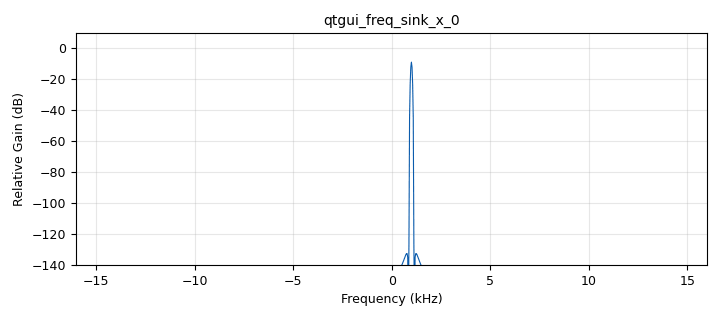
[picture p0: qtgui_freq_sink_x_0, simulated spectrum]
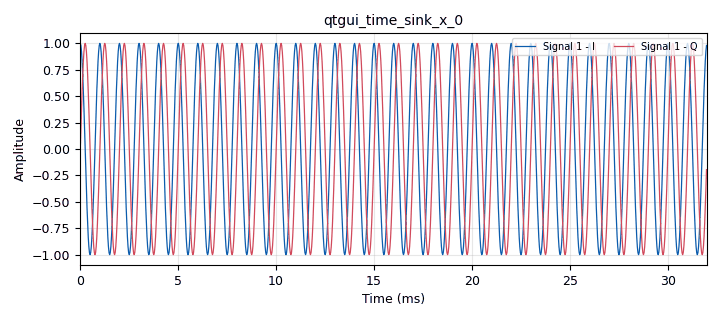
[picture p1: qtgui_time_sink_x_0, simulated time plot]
options:
  parameters:
    generate_options: qt_gui
    id: ex1_04
    output_language: python
    title: Figure 1.9 Spectrum of complex signal
  states: {}

blocks:
- name: frequency
  id: variable_qtgui_range
  parameters:
    start: '0'
    step: '1'
    stop: samp_rate/2
    value: '1000'
  states: {}
- name: samp_rate
  id: variable
  parameters:
    value: '32000'
  states: {}
- name: analog_sig_source_x_0
  id: analog_sig_source_x
  parameters:
    amp: '1'
    freq: frequency
    offset: '0'
    phase: '0'
    samp_rate: samp_rate
    type: complex
    waveform: analog.GR_COS_WAVE
  states: {}
- name: blocks_throttle2_0
  id: blocks_throttle2
  parameters:
    comment: slow down the scheduler
    samples_per_second: samp_rate
    type: complex
  states: {}
- name: qtgui_freq_sink_x_0
  id: qtgui_freq_sink_x
  parameters:
    bw: samp_rate
    fc: '0'
    fftsize: '1024'
    type: complex
  states: {}
- name: qtgui_time_sink_x_0
  id: qtgui_time_sink_x
  parameters:
    autoscale: 'True'
    label1: Signal 1 - I
    label2: Signal 1 - Q
    size: '1024'
    srate: samp_rate
    type: complex
  states: {}

connections:
- [analog_sig_source_x_0, '0', blocks_throttle2_0, '0']
- [blocks_throttle2_0, '0', qtgui_freq_sink_x_0, '0']
- [blocks_throttle2_0, '0', qtgui_time_sink_x_0, '0']

metadata:
  file_format: 1
  grc_version: 3.10.9.2
